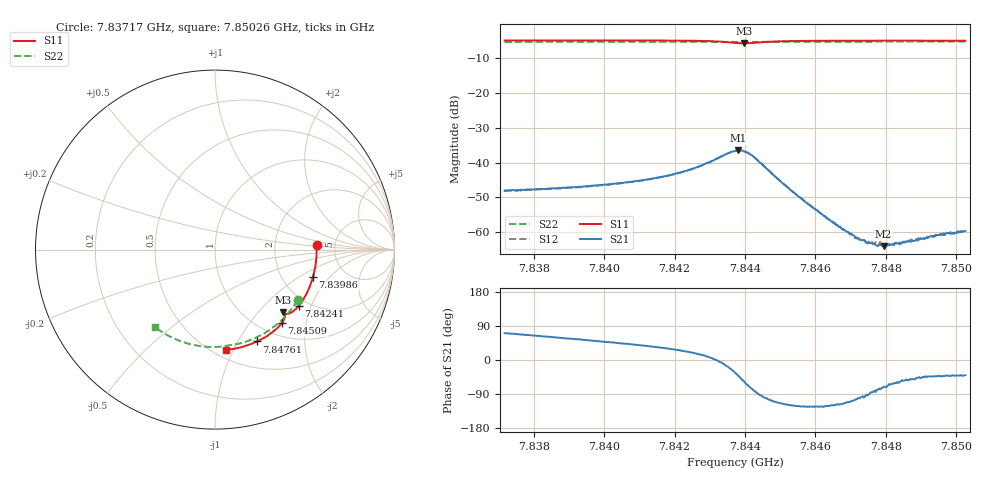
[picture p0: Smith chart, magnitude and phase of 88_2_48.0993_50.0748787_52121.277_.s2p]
#  HZ  S  RI  R  50.00
! Rohde & Schwarz Vector Network Analyzer
! Rohde-Schwarz,ZNB20-2Port,1311601062101988,3.16
! Created: UTC 12/23/2023, 3:43:28 AM
! freq[Hz]  re:S11  im:S11  re:S21  im:S21  re:S12  im:S12  re:S22  im:S22
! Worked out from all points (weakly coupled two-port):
!   401 points, 7.83717 GHz to 7.85026 GHz, reference 50 ohm
!   highest |S21| = -36.53 dB at 7.84382 GHz (marker M1); lowest = -64.0 dB at 7.84794 GHz (marker M2)
!   lowest |S11| = -5.8 dB at 7.84398 GHz (marker M3), VSWR 3.13, Z = 72.7 - j68.9 ohm
!   |S11| at or under -10 dB: nowhere
!   |S22| runs from -5.4 to -5.2 dB; largest |S21 - S12| = 0.00033
!   S11 on the Smith chart (normalised r, x): 7.83717 GHz: 3.59, +0.25; 7.83986 GHz: 2.95, -1.33; 7.84241 GHz: 1.80, -1.64; 7.84509 GHz: 1.24, -1.46; 7.84761 GHz: 0.80, -1.21; 7.85026 GHz: 0.57, -0.94
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7.837173e9  0.5659 0.024  0.00131 0.00373  0.00128 0.00367  0.461 -0.2807
7.839365e9  0.5539 -0.1213  0.00266 0.00362  0.00265 0.00358  0.364 -0.3994
7.839856e9  0.5457 -0.1533  0.00308 0.00359  0.00302 0.00358  0.3382 -0.4217
7.840805e9  0.5245 -0.2141  0.00404 0.00349  0.00396 0.00351  0.284 -0.4607
7.841558e9  0.5017 -0.2612  0.00516 0.00335  0.00508 0.00339  0.2377 -0.4862
7.842409e9  0.4677 -0.3122  0.0073 0.00281  0.00727 0.00282  0.1826 -0.5095
7.843227e9  0.419 -0.3535  0.0116 -0.00036  0.0116 -0.00032  0.1273 -0.5255
7.843718e9  0.3842 -0.3556  0.0122 -0.0081  0.0122 -0.00799  0.0944 -0.5308
7.843816e9  0.3807 -0.3525  0.0111 -0.01  0.0111 -0.00993  0.0879 -0.5318
7.84398e9  0.3803 -0.348  0.00779 -0.0121  0.00794 -0.0121  0.0777 -0.5334
7.844274e9  0.3881 -0.3535  0.00159 -0.0117  0.00167 -0.0117  0.0588 -0.537
7.845092e9  0.3734 -0.4075  -0.00214 -0.00446  -0.00219 -0.00445  0.00177 -0.5428
7.845911e9  0.3328 -0.4504  -0.00126 -0.00189  -0.00126 -0.00194  -0.056 -0.5408
7.846729e9  0.2867 -0.4836  -0.000518 -0.00102  -0.00048 -0.00104  -0.1129 -0.5326
7.847154e9  0.2615 -0.4981  -0.000201 -0.000798  -0.000234 -0.000814  -0.1421 -0.5255
7.847481e9  0.2417 -0.5082  -4.45e-05 -0.000689  -9.74e-06 -0.000704  -0.1641 -0.5194
7.847612e9  0.2338 -0.512  5.56e-05 -0.000686  6.1e-05 -0.000718  -0.173 -0.5166
7.84794e9  0.2136 -0.5209  0.000209 -0.000594  0.000212 -0.000629  -0.1947 -0.5089
7.848103e9  0.2034 -0.5251  0.000291 -0.000584  0.000277 -0.000625  -0.2053 -0.5049
7.848954e9  0.1494 -0.5428  0.000558 -0.000568  0.000524 -0.000596  -0.2594 -0.4799
7.849576e9  0.1091 -0.5521  0.000685 -0.000648  0.000692 -0.000629  -0.297 -0.458
7.850263e9  0.0638 -0.5589  0.000796 -0.000672  0.00078 -0.000693  -0.3365 -0.4302
